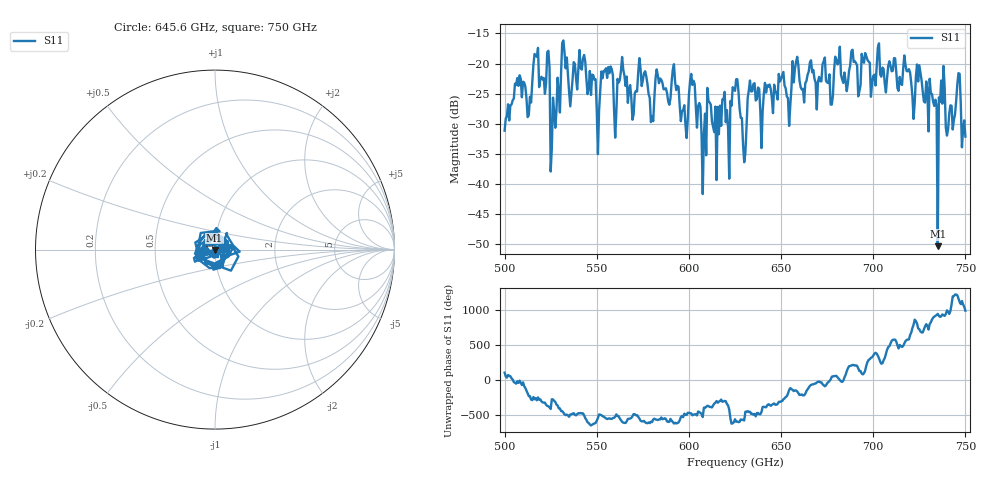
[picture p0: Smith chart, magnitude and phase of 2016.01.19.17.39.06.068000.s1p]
!Created with skrf (http://scikit-rf.org).
# GHz S RI R 50.0
!freq ReS11 ImS11
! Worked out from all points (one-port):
!   401 points, 500 GHz to 750 GHz, reference 50 ohm
!   lowest |S11| = -50.4 dB at 735 GHz (marker M1), VSWR 1.01, Z = 49.8 - j0.208 ohm
!   |S11| at or under -10 dB: start of sweep to end of sweep
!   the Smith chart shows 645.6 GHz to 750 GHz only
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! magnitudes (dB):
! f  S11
! 500 GHz  -31.2
! 507.5 GHz  -23.7
! 513.1 GHz  -28.6
! 516.9 GHz  -18.6
! 523.1 GHz  -18.1
! 526.2 GHz  -25.7
! 531.2 GHz  -16.6
! 541.9 GHz  -21.0
! 550.6 GHz  -35.1
! 562.5 GHz  -22.7
! 580 GHz  -28.8
! 593.8 GHz  -23.7
! 598.1 GHz  -30.2
! 601.9 GHz  -23.6
! 608.1 GHz  -31.8
! 611.2 GHz  -26.5
! 621.2 GHz  -30.8
! 625 GHz  -24.6
! 630 GHz  -36.4
! 633.8 GHz  -24.7
! 656.2 GHz  -19.6
! 687.5 GHz  -20.3
! 718.8 GHz  -21.3
! 735 GHz  -50.4
! 736.9 GHz  -22.8
! 740.6 GHz  -30.9
! 746.2 GHz  -21.6
! 750 GHz  -32.2
